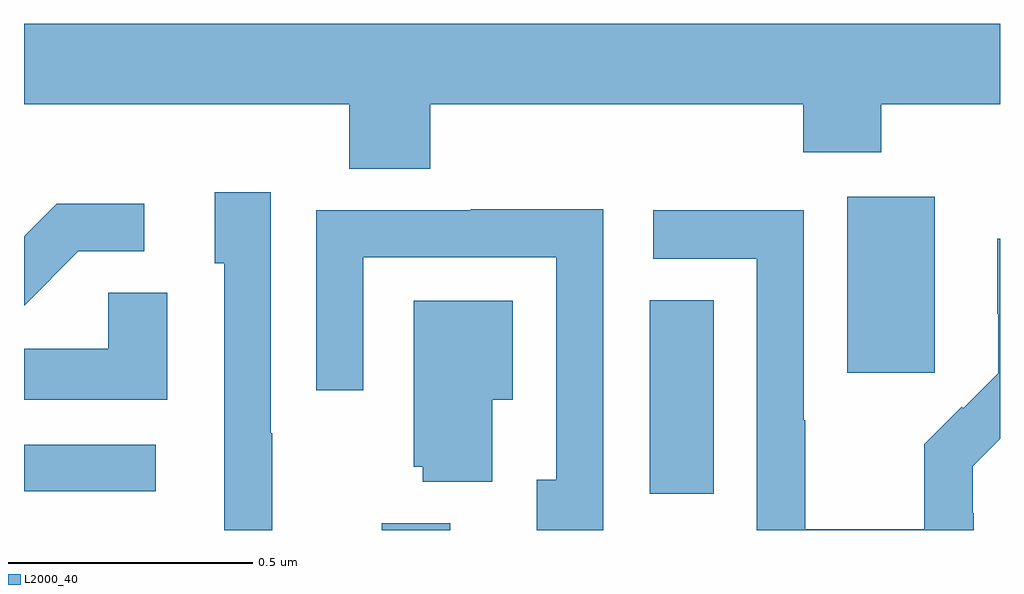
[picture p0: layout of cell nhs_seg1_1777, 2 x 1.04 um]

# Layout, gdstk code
import gdstk
lib = gdstk.Library(unit=1e-6, precision=1e-09)
def R(c, l, rs):  # rectangles x0, y0, x1, y1
    for r in rs: c.add(gdstk.rectangle(r[:2], r[2:], *l))
def P(c, l, *ps):  # polygons
    for p in ps: c.add(gdstk.Polygon(p, *l))
L2000_40 = (2000, 40)

nhs_seg1_1777 = lib.new_cell('nhs_seg1_1777')
R(nhs_seg1_1777, L2000_40, [(133.733,544.199,133.873,544.213), (134.282,544.273,134.413,544.67), (133,544.278,133.27,544.374), (134.687,544.521,134.866,544.882)])
P(nhs_seg1_1777, L2000_40, [(133.832,545.072),(134.597,545.072),(134.597,544.973),(134.757,544.973),(134.757,545.072),(135,545.072),(135,545.236),(133,545.236),(133,545.072),(133.667,545.072),(133.667,544.939),(133.832,544.939)],
  [(133.509,544.397),(133.506,544.397),(133.506,544.891),(133.391,544.891),(133.391,544.746),(133.41,544.746),(133.41,544.199),(133.509,544.199)],
  [(133.111,544.77),(133.246,544.77),(133.246,544.868),(133.067,544.868),(133,544.801),(133,544.659)],
  [(134.187,544.856),(133.915,544.856),(133.915,544.854),(133.599,544.854),(133.599,544.485),(133.695,544.485),(133.695,544.758),(134.091,544.758),(134.091,544.302),(134.051,544.302),(134.051,544.199),(134.187,544.199)],
  [(134.946,544.233),(134.944,544.233),(134.944,544.33),(135,544.386),(135,544.796),(134.994,544.796),(134.994,544.642),(134.996,544.642),(134.996,544.52),(134.925,544.449),(134.922,544.452),(134.845,544.375),(134.845,544.201),(134.601,544.201),(134.601,544.424),(134.598,544.424),(134.598,544.854),(134.289,544.854),(134.289,544.755),(134.502,544.755),(134.502,544.199),(134.946,544.199)],
  [(133.294,544.685),(133.173,544.685),(133.173,544.57),(133,544.57),(133,544.466),(133.294,544.466)],
  [(133.96,544.466),(134.002,544.466),(134.002,544.669),(133.799,544.669),(133.799,544.329),(133.817,544.329),(133.817,544.298),(133.96,544.298)])

lib.write_gds('nhs_seg1_1777.gds')
